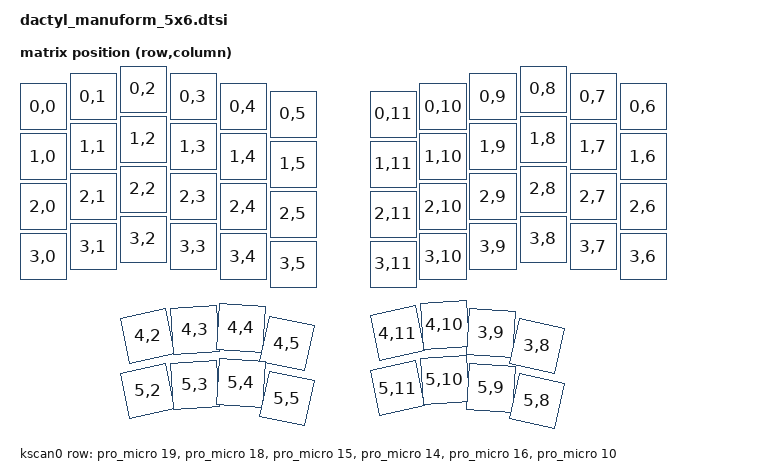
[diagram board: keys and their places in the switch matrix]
#include <dt-bindings/zmk/matrix_transform.h>
#include <physical_layouts.dtsi>

/ {
    chosen {
        zmk,kscan = &kscan0;
        zmk,physical-layout = &dactyl_5x6_layout;
    };

    default_transform: keymap_transform_0 {
        compatible = "zmk,matrix-transform";
        columns = <12>;
        rows = <6>;
// | MX1  | MX2  | MX3  | MX4  | MX5  | MX6  |                 | MX7  | MX8  | MX9  | MX10 | MX11 | MX12 |
// | MX13 | MX14 | MX15 | MX16 | MX17 | MX18 |                 | MX19 | MX20 | MX21 | MX22 | MX23 | MX24 |
// | MX25 | MX26 | MX27 | MX28 | MX29 | MX30 |                 | MX31 | MX32 | MX33 | MX34 | MX35 | MX36 |
// | MX37 | MX38 | MX39 | MX40 | MX41 | MX42 |                 | MX43 | MX44 | MX45 | MX46 | MX47 | MX48 |
//               | MX49 | MX50 | MX51 | MX52 |                 | MX53 | MX54 | MX55 | MX56 |
//               | MX57 | MX58 | MX59 | MX60 |                 | MX61 | MX62 | MX63 | MX64 |
// Right-hand row4 reuses RC(3,9)/RC(3,8) (row3's wiring) instead of RC(4,9)/RC(4,8) -
// intentional per hand-wiring; those 2 thumb keys will always mirror the K/L keys.
        map = <
RC(0,0) RC(0,1) RC(0,2) RC(0,3) RC(0,4) RC(0,5)                   RC(0,11) RC(0,10) RC(0,9) RC(0,8) RC(0,7) RC(0,6)
RC(1,0) RC(1,1) RC(1,2) RC(1,3) RC(1,4) RC(1,5)                   RC(1,11) RC(1,10) RC(1,9) RC(1,8) RC(1,7) RC(1,6)
RC(2,0) RC(2,1) RC(2,2) RC(2,3) RC(2,4) RC(2,5)                   RC(2,11) RC(2,10) RC(2,9) RC(2,8) RC(2,7) RC(2,6)
RC(3,0) RC(3,1) RC(3,2) RC(3,3) RC(3,4) RC(3,5)                   RC(3,11) RC(3,10) RC(3,9) RC(3,8) RC(3,7) RC(3,6)
        RC(4,2) RC(4,3) RC(4,4) RC(4,5)                           RC(4,11) RC(4,10) RC(3,9) RC(3,8)
        RC(5,2) RC(5,3) RC(5,4) RC(5,5)                           RC(5,11) RC(5,10) RC(5,9) RC(5,8)
        >;
    };

    kscan0: kscan {
        compatible = "zmk,kscan-gpio-matrix";
        label = "KSCAN";
        wakeup-source;
        diode-direction = "col2row";
        row-gpios
            = <&pro_micro 19 (GPIO_ACTIVE_HIGH | GPIO_PULL_DOWN)>
            , <&pro_micro 18 (GPIO_ACTIVE_HIGH | GPIO_PULL_DOWN)>
            , <&pro_micro 15 (GPIO_ACTIVE_HIGH | GPIO_PULL_DOWN)>
            , <&pro_micro 14 (GPIO_ACTIVE_HIGH | GPIO_PULL_DOWN)>
            , <&pro_micro 16 (GPIO_ACTIVE_HIGH | GPIO_PULL_DOWN)>
            , <&pro_micro 10 (GPIO_ACTIVE_HIGH | GPIO_PULL_DOWN)>
            ;

    };

    dactyl_5x6_layout: dactyl_5x6_layout {
        compatible = "zmk,physical-layout";
        display-name = "Default";
        transform = <&default_transform>;
        kscan = <&kscan0>;
        keys  //                     w    h     x     y     r    rx    ry
            /* Row 0 */
            = <&key_physical_attrs  100  100     0    40     0     0    40>
            , <&key_physical_attrs  100  100   100    20     0   100    20>
            , <&key_physical_attrs  100  100   200     5     0   200     5>
            , <&key_physical_attrs  100  100   300    20     0   300    20>
            , <&key_physical_attrs  100  100   400    40     0   400    40>
            , <&key_physical_attrs  100  100   500    55     0   500    55>
            , <&key_physical_attrs  100  100   700    55     0   700    55>
            , <&key_physical_attrs  100  100   800    40     0   800    40>
            , <&key_physical_attrs  100  100   900    20     0   900    20>
            , <&key_physical_attrs  100  100  1000     5     0  1000     5>
            , <&key_physical_attrs  100  100  1100    20     0  1100    20>
            , <&key_physical_attrs  100  100  1200    40     0  1200    40>
            /* Row 1 */
            , <&key_physical_attrs  100  100     0   140     0     0   140>
            , <&key_physical_attrs  100  100   100   120     0   100   120>
            , <&key_physical_attrs  100  100   200   105     0   200   105>
            , <&key_physical_attrs  100  100   300   120     0   300   120>
            , <&key_physical_attrs  100  100   400   140     0   400   140>
            , <&key_physical_attrs  100  100   500   155     0   500   155>
            , <&key_physical_attrs  100  100   700   155     0   700   155>
            , <&key_physical_attrs  100  100   800   140     0   800   140>
            , <&key_physical_attrs  100  100   900   120     0   900   120>
            , <&key_physical_attrs  100  100  1000   105     0  1000   105>
            , <&key_physical_attrs  100  100  1100   120     0  1100   120>
            , <&key_physical_attrs  100  100  1200   140     0  1200   140>
            /* Row 2 */
            , <&key_physical_attrs  100  100     0   240     0     0   240>
            , <&key_physical_attrs  100  100   100   220     0   100   220>
            , <&key_physical_attrs  100  100   200   205     0   200   205>
            , <&key_physical_attrs  100  100   300   220     0   300   220>
            , <&key_physical_attrs  100  100   400   240     0   400   240>
            , <&key_physical_attrs  100  100   500   255     0   500   255>
            , <&key_physical_attrs  100  100   700   255     0   700   255>
            , <&key_physical_attrs  100  100   800   240     0   800   240>
            , <&key_physical_attrs  100  100   900   220     0   900   220>
            , <&key_physical_attrs  100  100  1000   205     0  1000   205>
            , <&key_physical_attrs  100  100  1100   220     0  1100   220>
            , <&key_physical_attrs  100  100  1200   240     0  1200   240>
            /* Row 3 */
            , <&key_physical_attrs  100  100     0   340     0     0   340>
            , <&key_physical_attrs  100  100   100   320     0   100   320>
            , <&key_physical_attrs  100  100   200   305     0   200   305>
            , <&key_physical_attrs  100  100   300   320     0   300   320>
            , <&key_physical_attrs  100  100   400   340     0   400   340>
            , <&key_physical_attrs  100  100   500   355     0   500   355>
            , <&key_physical_attrs  100  100   700   355     0   700   355>
            , <&key_physical_attrs  100  100   800   340     0   800   340>
            , <&key_physical_attrs  100  100   900   320     0   900   320>
            , <&key_physical_attrs  100  100  1000   305     0  1000   305>
            , <&key_physical_attrs  100  100  1100   320     0  1100   320>
            , <&key_physical_attrs  100  100  1200   340     0  1200   340>
            /* Thumb row 0 */
            , <&key_physical_attrs  100  100   200   510 -1200   200   510>
            , <&key_physical_attrs  100  100   300   490  -400   300   490>
            , <&key_physical_attrs  100  100   400   480   400   400   480>
            , <&key_physical_attrs  100  100   500   505  1200   500   505>
            , <&key_physical_attrs  100  100   700   505 -1200   700   505>
            , <&key_physical_attrs  100  100   800   480  -400   800   480>
            , <&key_physical_attrs  100  100   900   490   400   900   490>
            , <&key_physical_attrs  100  100  1000   510  1200  1000   510>
            /* Thumb row 1 */
            , <&key_physical_attrs  100  100   200   620 -1200   200   620>
            , <&key_physical_attrs  100  100   300   600  -400   300   600>
            , <&key_physical_attrs  100  100   400   590   400   400   590>
            , <&key_physical_attrs  100  100   500   615  1200   500   615>
            , <&key_physical_attrs  100  100   700   615 -1200   700   615>
            , <&key_physical_attrs  100  100   800   590  -400   800   590>
            , <&key_physical_attrs  100  100   900   600   400   900   600>
            , <&key_physical_attrs  100  100  1000   620  1200  1000   620>
            ;
    };
};
